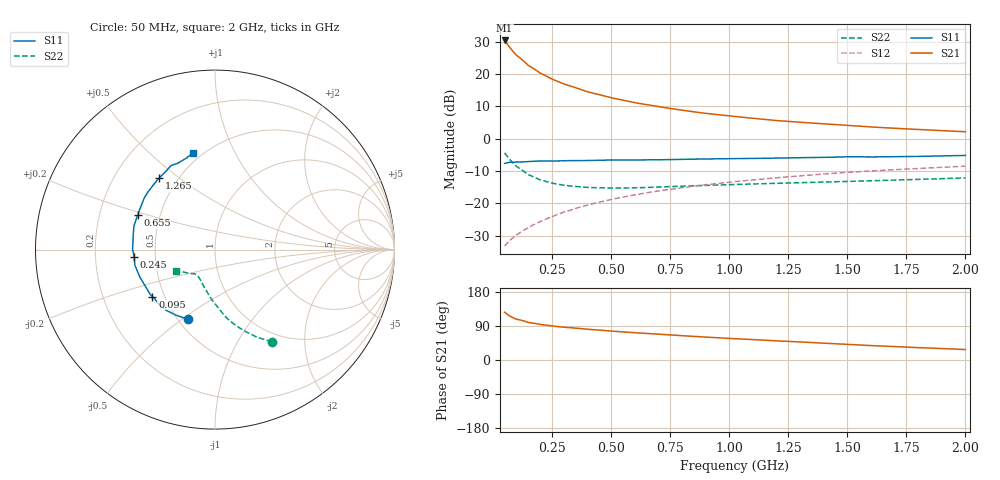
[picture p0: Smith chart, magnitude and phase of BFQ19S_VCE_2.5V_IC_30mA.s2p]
! Infineon Technologies  Discrete & RF Semiconductors
! BFQ19S
! VCE =  2.5 V,  IC =  30 mA
! Common Emitter S-Parameters:  Jan 2016
# GHz  S  MA  R  50
!  f  S11  S21  S12  S22
! GHz  MAG  ANG  MAG  ANG  MAG  ANG  MAG  ANG
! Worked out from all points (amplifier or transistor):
!   391 points, 50 MHz to 2 GHz, reference 50 ohm
!   highest |S21| = 30.4 dB at 50 MHz (marker M1)
!   |S21| within 3 dB of that: start of sweep to 81.09 MHz
!   unconditionally stable (mu >= 1): 334.4 MHz to 1.829 GHz
!   at 375 MHz: K = 1.01, MAG = 17.4 dB, |S12| = -21.0 dB
!   at 1.025 GHz: K = 1.04, MAG = 8.8 dB, |S12| = -13.2 dB
!   at 2 GHz: K = 0.98, MSG = 5.3 dB, |S12| = -8.5 dB
!   S11 on the Smith chart (normalised r, x): 50 MHz: 0.56, -0.53; 95 MHz: 0.43, -0.28; 245 MHz: 0.38, -0.04; 655 MHz: 0.37, +0.18; 1.265 GHz: 0.40, +0.42; 2 GHz: 0.45, +0.70
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0.05  0.4161 -110.8  33.02 126.1  0.0219 61.7  0.6044 -58.3
0.06  0.4252 -120.8  29.34 120.8  0.0242 60.8  0.5401 -64.5
0.07  0.4345 -129.2  26.22 116.6  0.0266 60.6  0.4869 -69.6
0.08  0.4356 -135.7  23.62 113.1  0.0283 60.6  0.4435 -74.1
0.09  0.434 -140.6  21.44 110.2  0.0305 60.8  0.4066 -78.1
0.095  0.4361 -143.0  20.49 109.0  0.0315 61.4  0.3909 -79.7
0.1  0.4389 -145.3  19.55 107.7  0.0325 61.9  0.3756 -81.5
0.15  0.4455 -159.9  13.59 99.2  0.0424 64.2  0.2796 -93.7
0.2  0.4548 -168.9  10.38 93.8  0.0523 66.5  0.2322 -102.4
0.245  0.4519 -174.6  8.563 90.3  0.0616 67.8  0.2087 -108.4
0.3  0.459 179.8  7.018 86.5  0.0733 68.4  0.1911 -114.1
0.375  0.4596 173.6  5.738 82.7  0.089 68.6  0.18 -119.5
0.4  0.461 171.5  5.318 81.1  0.0943 68.7  0.1767 -121.4
0.5  0.4708 164.3  4.303 76.3  0.1152 68.2  0.1731 -125.8
0.655  0.4716 156.1  3.344 69.9  0.1469 66.1  0.177 -130.4
0.7  0.4736 153.8  3.13 67.9  0.156 65.6  0.1792 -131.4
0.85  0.4833 146.3  2.612 62.3  0.185 63.3  0.1878 -134.5
1.03  0.4935 138.0  2.194 56.1  0.2186 60.2  0.1968 -137.9
1.265  0.5052 128.1  1.839 48.7  0.261 56.2  0.2078 -142.2
1.35  0.5102 124.5  1.747 46.1  0.2761 54.8  0.2119 -143.5
1.675  0.5266 111.4  1.47 36.1  0.3297 48.8  0.2285 -146.9
2  0.5527 102.7  1.283 27.6  0.3771 43.1  0.2482 -151.6
